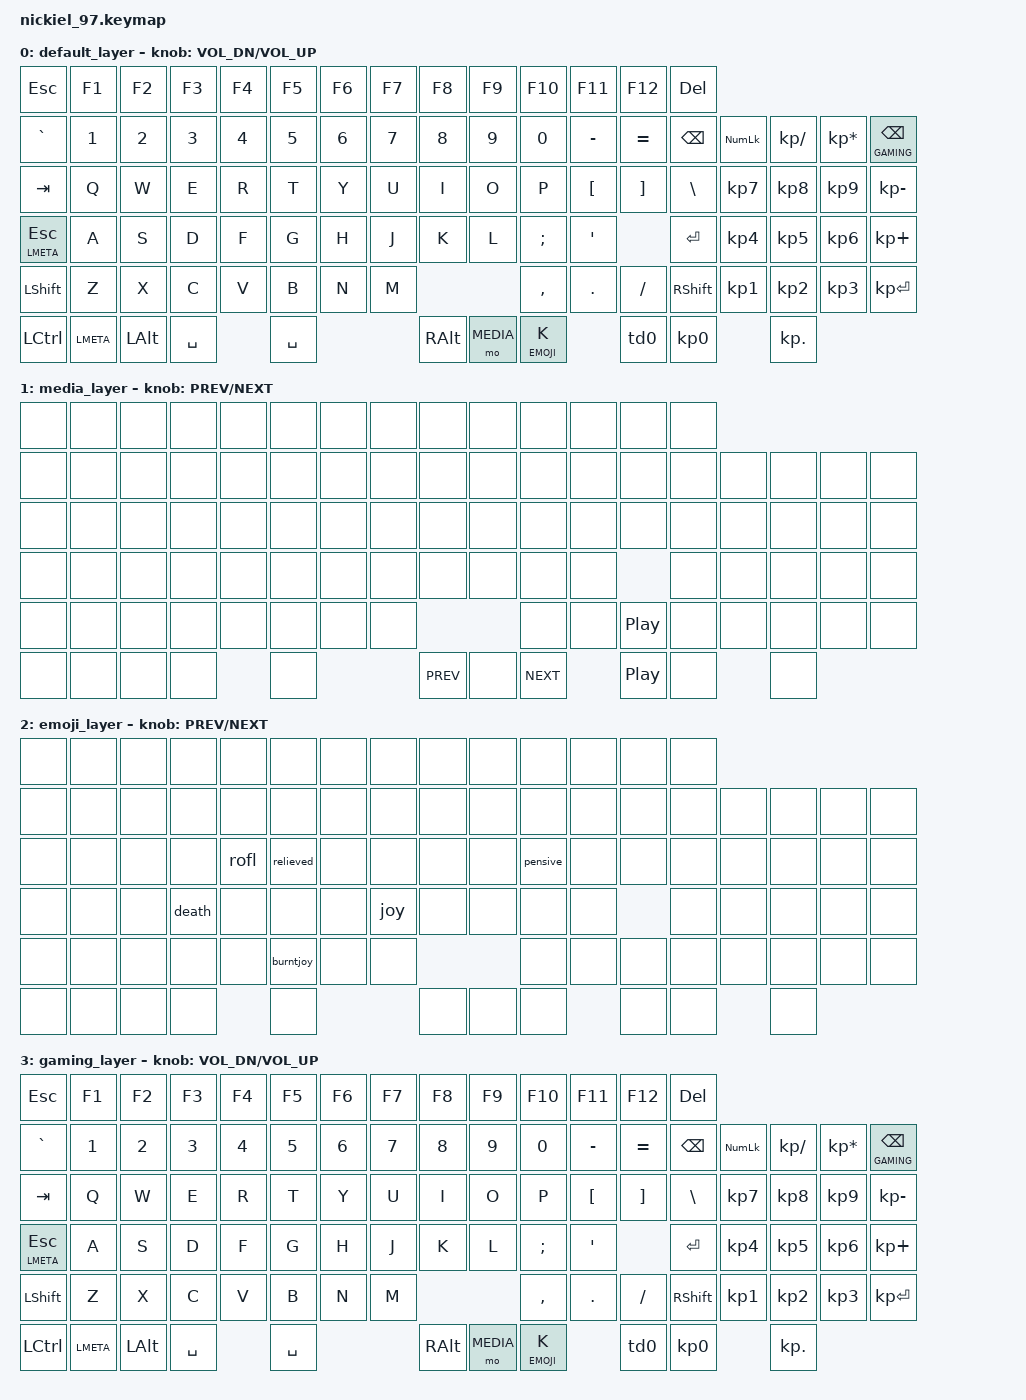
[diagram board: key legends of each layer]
#include <dt-bindings/zmk/backlight.h>
#include <behaviors.dtsi>
#include <dt-bindings/zmk/keys.h>
#include <dt-bindings/zmk/backlight.h>

// Layers
#define DEFAULT 0
#define MEDIA 1
#define EMOJI 2
#define GAMING 3


/{

	macros {
		burntjoy: burntjoy {
			label = "ZM_burntjoy";
            compatible = "zmk,behavior-macro";
            #binding-cells = <0>;
			wait-ms = <20>;
			tap-ms = <20>;
			bindings =
				  <&macro_press &kp LSHFT>
				, <&macro_tap &kp SEMI>
				, <&macro_release &kp LSHFT>
				, <&macro_tap &kp B &kp U &kp R &kp N &kp T &kp J &kp O &kp Y>
				, <&macro_press &kp LSHFT>
				, <&macro_tap &kp SEMI>
				, <&macro_release &kp LSHFT>
				;
		};

		joy: joy {
			label = "ZM_joy";
            compatible = "zmk,behavior-macro";
            #binding-cells = <0>;
			wait-ms = <20>;
			tap-ms = <20>;
			bindings =
				  <&macro_press &kp LSHFT>
				, <&macro_tap &kp SEMI>
				, <&macro_release &kp LSHFT>
				, <&macro_tap &kp J &kp O &kp Y>
				, <&macro_press &kp LSHFT>
				, <&macro_tap &kp SEMI>
				, <&macro_release &kp LSHFT>
				;
		};

		rofl: rofl {
			label = "ZM_rofl";
            compatible = "zmk,behavior-macro";
            #binding-cells = <0>;
			wait-ms = <20>;
			tap-ms = <20>;
			bindings =
				  <&macro_press &kp LSHFT>
				, <&macro_tap &kp SEMI>
				, <&macro_release &kp LSHFT>
				, <&macro_tap &kp R &kp O &kp F &kp L>
				, <&macro_press &kp LSHFT>
				, <&macro_tap &kp SEMI>
				, <&macro_release &kp LSHFT>
				;
		};

		pensive: pensive {
			label = "ZM_pensive";
            compatible = "zmk,behavior-macro";
            #binding-cells = <0>;
			wait-ms = <10>;
			tap-ms = <20>;
			bindings =
				  <&macro_press &kp LSHFT>
				, <&macro_tap &kp SEMI>
				, <&macro_release &kp LSHFT>
				, <&macro_tap &kp P &kp E &kp N &kp S &kp I &kp V &kp E>
				, <&macro_press &kp LSHFT>
				, <&macro_tap &kp SEMI>
				, <&macro_release &kp LSHFT>
				;
		};

		relieved: relieved {
			label = "ZM_relieved";
            compatible = "zmk,behavior-macro";
            #binding-cells = <0>;
			wait-ms = <10>;
			tap-ms = <20>;
			bindings =
				  <&macro_press &kp LSHFT>
				, <&macro_tap &kp SEMI>
				, <&macro_release &kp LSHFT>
				, <&macro_tap &kp R &kp E &kp L &kp I &kp E &kp V &kp E &kp D>
				, <&macro_press &kp LSHFT>
				, <&macro_tap &kp SEMI>
				, <&macro_release &kp LSHFT>
				;
		};
		
		death: death {
			label = "ZM_death";
            compatible = "zmk,behavior-macro";
            #binding-cells = <0>;
			wait-ms = <10>;
			tap-ms = <20>;
			bindings =
				  <&macro_press &kp LSHFT>
				, <&macro_tap &kp SEMI>
				, <&macro_release &kp LSHFT>
				, <&macro_tap &kp D &kp E &kp A &kp T &kp H>
				, <&macro_press &kp LSHFT>
				, <&macro_tap &kp SEMI>
				, <&macro_release &kp LSHFT>
				;
		};
	};

  	combos {
		compatible = "zmk,combos";

		combo_caps {
			timeout-ms = <150>;
			key-positions = <90 50>;
			bindings = <&kp CAPS>;
		};
		//combo_capsword {
		//	timeout-ms = <150>;
		//	key-positions = <86 87>;
		//	bindings = <&caps_word>;
		//};
	};
	
	behaviours {
		td0: tap_dance_0 {
		    compatible = "zmk,behavior-tap-dance";
		    label = "TAP_DANCE_ENCODER";
		    #binding-cells = <0>;
		    tapping-term-ms = <350>;
		    bindings = <&mo MEDIA>, <&kp C_PLAY_PAUSE>, <&kp C_MUTE>;
		    //bindings = <&mo MEDIA>, <&kp C_PLAY_PAUSE>, <&kp C_MUTE>;
		};

		// The below will make the key send a ctrl if q is pressed, but default otherwise
		// ctrlq: control_q_spacebar {
		//	compatible = "zmk,behavior-hold-tap";
        //    label = "CONTROL_Q_SPACBAR";
        //    flavor = "hold-preferred";
        //    tapping-term-ms = <400>;
        //    quick-tap-ms = <200>;
        //    #binding-cells = <2>;
        //    bindings = <&kp>, <&kp>;
        //    hold-trigger-key-positions = <33>;    // <---[[the W key]]
		//};

		gmng: switch_to_gaming {
			compatible = "zmk,behavior-hold-tap";
            label = "SWITCH_TO_GAMING";
            flavor = "hold-preferred";
            tapping-term-ms = <400>;
            quick-tap-ms = <200>;
            #binding-cells = <2>;
            bindings = <&tog>, <&kp>;
            hold-trigger-key-positions = <46>;    // <---[[the numlock key]]
		};

	};

	keymap {
		compatible = "zmk,keymap";

// --------------------------------------------------------------------------------------------------------------------------------------------------------------------
// | ESC  |  |  F1  |  F2  |  F3  |  F4  |  F5  | F6 |  F7  |  F8  |  F9  |  F10  |  F11 | F12  | |   Del  |
// | ~/`  | Num1 | Num2 | Num3 | Num4 | Num5 | Num6 | Num7 | Num8 | Num9 | Num0 | Dash | Plus | backspace  |  | NmLck|  /   |  *   |Bkspce|
// | Tab     |  Q   |  W   |  E   |  R   |  T   |  Y   |  U   |  I   |  O   |  P   |  [   |  ]   |     \   |  |  7   |  8   |  9   |  +   | 
// | CapsLock  |  A   |  S   |  D   |  F   |  G   |  H   |  J   |  K   |  L   |  :   |  "   |    Enter     |  |  4   |  5   |  6   |  -   |
// |    Shift     |  Z   |  X   |  C   |  V   |  B   |  N   |  M   |  <   |  >   |  ?   |        Shift     |  |  1   |  2   |  3   |  En  |
// |  Ctrl | Super |  Alt   |      Space       |       Space       |  Alt  |   Fn   | lights | Rot_Encoder |  |      0      |  .   |  ter |

// --------------------------------------------------------------------------------------------------------------------------------------------------------------------
// THIS IS ZERO INDEXED, IF THIS IS STILL HERE, SUBTRACT EACH NUMBER BY 1
// | 1  |  |  2  |  3   |  4  |  5  |  6  |  7  |  8  |  9  |  10  |  11  |  12 | 13  | |   14  |
// | 15  | 16 | 17 | 18 | 19 | 20 | 21 | 22 | 23 | 24 | 25 | 26 | 27 | 28  |  | 29|  30   |  31   |   32   |
// | 33     |  34   |  35   |  36   |  37   |  38   |  39   |  40   |  41   |  42   |  43   |  44   |  45  | 46 |  |  47   |  48   |  49   |  50   | 
// | 51  |  52   |  53   |  54   |  55   |  56   |  57   |  58   |  59   |  60   |  61   |  62   |    63     |     |  64   |  65   |  66   |  67   |
// |    68     |  69   |  70   |  71   |  72   |  73   |  74   |  75   |  76   |  77   |  78   |        79    |    |  80   |  81   |  82   |  83  |
// |  84 | 85 |  86   |      87       |       88       |  89  |   90   | 91 | 92 |                                 |      93      |  94   |  95 |

		default_layer {
			sensor-bindings = <&inc_dec_kp C_VOL_DN C_VOL_UP>;
			bindings = <
	&kp ESC    &kp F1    &kp F2    &kp F3    &kp F4    &kp F5    &kp F6    &kp F7    &kp F8    &kp F9    &kp F10   &kp F11   &kp F12   &kp DEL
	&kp GRAVE  &kp N1    &kp N2    &kp N3    &kp N4    &kp N5    &kp N6    &kp N7    &kp N8    &kp N9    &kp N0    &kp MINUS &kp EQUAL &kp BSPC    &kp KP_NUM  &kp KP_SLASH   &kp KP_MULTIPLY  &gmng GAMING BSPC
	&kp TAB    &kp Q     &kp W     &kp E     &kp R     &kp T     &kp Y     &kp U     &kp I     &kp O     &kp P     &kp LBKT  &kp RBKT  &kp BSLH    &kp KP_N7   &kp KP_N8      &kp KP_N9        &kp KP_MINUS
	&mt LMETA ESC   &kp A     &kp S     &kp D     &kp F     &kp G     &kp H     &kp J     &kp K     &kp L     &kp SEMI  &kp SQT             &kp ENTER   &kp KP_N4   &kp KP_N5      &kp KP_N6        &kp KP_PLUS
	&kp LSHIFT &kp Z     &kp X     &kp C     &kp V     &kp B     &kp N     &kp M     &kp COMMA &kp PERIOD          &kp SLASH       &kp RSHIFT  &kp KP_N1   &kp KP_N2      &kp KP_N3        &kp KP_ENTER
	&kp LCTRL  &kp LMETA &kp LALT       &kp SPACE          &kp SPACE              &kp RALT  &mo MEDIA   &lt EMOJI K        &td0          &kp KP_N0              &kp KP_DOT                   
			>;
		};
		
		media_layer {
			sensor-bindings = <&inc_dec_kp C_PREV C_NEXT>;
			bindings = <
	&none    &none    &none    &none    &none    &none    &none    &none    &none    &none    &none   &none   &none   &none
	&none    &none    &none    &none    &none    &none    &none    &none    &none    &none    &none   &none   &none   &none        &none  &none   &none  &none
	&none    &none    &none    &none    &none    &none    &none    &none    &none    &none    &none   &none   &none   &none        &none  &none   &none  &none
	&none    &none    &none    &none    &none    &none    &none    &none    &none    &none    &none   &none   &none                &none  &none   &none  &none
	&none    &none    &none    &none    &none    &none    &none    &none    &none    &none    &kp C_PLAY_PAUSE   &none             &none  &none   &none  &none
	&none    &none    &none    &none             &none             &kp C_PREV    &none    &kp C_NEXT    &kp C_PLAY_PAUSE                 &none          &none                   
			>;
		};	
		
		emoji_layer {
			sensor-bindings = <&inc_dec_kp C_PREV C_NEXT>;
			bindings = <
	&none    &none    &none    &none    &none    &none    &none    &none    &none    &none    &none   &none   &none   &none
	&none    &none    &none    &none    &none    &none    &none    &none    &none    &none    &none   &none   &none   &none        &none  &none   &none  &none
	&none    &none    &none    &none    &rofl  &relieved  &none    &none    &none    &none  &pensive  &none   &none   &none        &none  &none   &none  &none
	&none    &none    &none    &death   &none    &none    &none    &joy    &none    &none    &none   &none   &none                 &none  &none   &none  &none
	&none    &none    &none    &none    &none    &burntjoy    &none    &none    &none    &none  &none      &none                    &none  &none   &none  &none
	&none    &none    &none    &none             &none             &none    &none    &none    &none                                 &none     &none                   
			>;
		};	

		gaming_layer {
			sensor-bindings = <&inc_dec_kp C_VOL_DN C_VOL_UP>;
			bindings = <
	&kp ESC    &kp F1    &kp F2    &kp F3    &kp F4    &kp F5    &kp F6    &kp F7    &kp F8    &kp F9    &kp F10   &kp F11   &kp F12   &kp DEL
	&kp GRAVE  &kp N1    &kp N2    &kp N3    &kp N4    &kp N5    &kp N6    &kp N7    &kp N8    &kp N9    &kp N0    &kp MINUS &kp EQUAL &kp BSPC    &kp KP_NUM  &kp KP_SLASH   &kp KP_MULTIPLY  &gmng GAMING BSPC
	&kp TAB    &kp Q     &kp W     &kp E     &kp R     &kp T     &kp Y     &kp U     &kp I     &kp O     &kp P     &kp LBKT  &kp RBKT  &kp BSLH    &kp KP_N7   &kp KP_N8      &kp KP_N9        &kp KP_MINUS
	&mt LMETA ESC   &kp A     &kp S     &kp D     &kp F     &kp G     &kp H     &kp J     &kp K     &kp L     &kp SEMI  &kp SQT             &kp ENTER   &kp KP_N4   &kp KP_N5      &kp KP_N6        &kp KP_PLUS
	&kp LSHIFT &kp Z     &kp X     &kp C     &kp V     &kp B     &kp N     &kp M     &kp COMMA &kp PERIOD          &kp SLASH       &kp RSHIFT  &kp KP_N1   &kp KP_N2      &kp KP_N3        &kp KP_ENTER
	&kp LCTRL  &kp LMETA &kp LALT       &kp SPACE          &kp SPACE              &kp RALT  &mo MEDIA   &lt EMOJI K        &td0          &kp KP_N0              &kp KP_DOT                   
			>;
		};
	};

};
